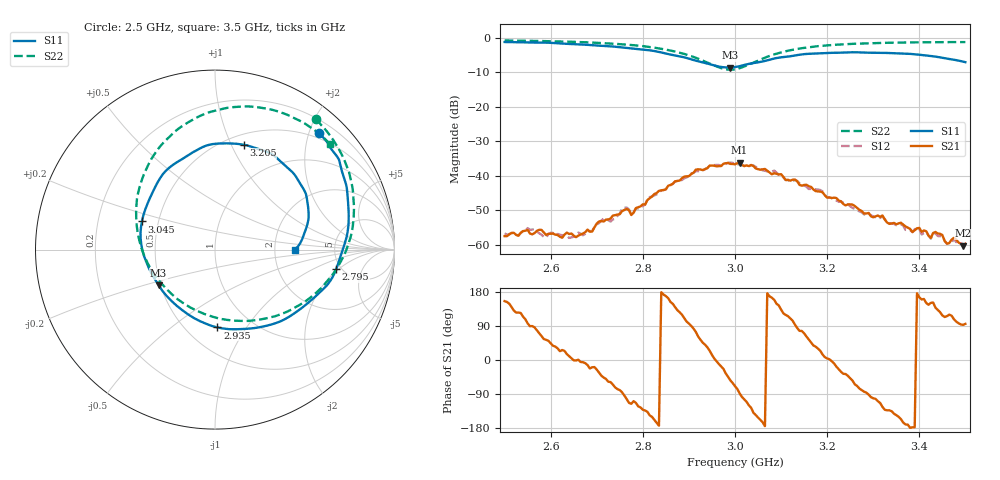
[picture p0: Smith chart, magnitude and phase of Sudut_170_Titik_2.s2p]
# Hz S RI R 50
! CMT, C1220, 16058040, 17.2.0/1
! Date: 15/08/2018 10:50:20
! Data: Format (Calibration Info)
! Freq  S11: Re/Im (F2)  S21: Re/Im (F2)  S12: Re/Im (F2)  S22: Re/Im (F2)
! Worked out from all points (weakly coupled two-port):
!   201 points, 2.5 GHz to 3.5 GHz, reference 50 ohm
!   highest |S21| = -36.24 dB at 3.01 GHz (marker M1); lowest = -60.3 dB at 3.495 GHz (marker M2)
!   lowest |S11| = -8.6 dB at 2.99 GHz (marker M3), VSWR 2.18, Z = 24.4 - j11.3 ohm
!   |S11| at or under -10 dB: nowhere
!   |S22| runs from -9.2 to -0.7 dB; largest |S21 - S12| = 0.0011
!   S11 on the Smith chart (normalised r, x): 2.5 GHz: 0.40, +2.17; 2.795 GHz: 4.52, -1.86; 2.935 GHz: 0.70, -0.75; 3.045 GHz: 0.40, +0.16; 3.205 GHz: 0.60, +1.11; 3.5 GHz: 2.60, -0.01
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2.5e9  0.5804 0.6503  -0.00121 0.000554  -0.00134 0.000577  0.5623 0.7259
2.55e9  0.637 0.5768  -0.000188 0.00163  -0.000343 0.00171  0.6181 0.6652
2.59e9  0.6893 0.5039  0.000826 0.00111  0.000692 0.00106  0.661 0.6071
2.67e9  0.7376 0.312  0.00144 -0.000144  0.00135 -0.000217  0.7375 0.4556
2.715e9  0.7449 0.1764  0.00149 -0.00157  0.00166 -0.0017  0.766 0.3442
2.74e9  0.7388 0.0979  0.000808 -0.00255  0.00086 -0.00222  0.772 0.2742
2.755e9  0.7252 0.0423  0.000251 -0.00306  0.000449 -0.00333  0.7744 0.2297
2.775e9  0.703 -0.0262  -0.00116 -0.00243  -0.00127 -0.00243  0.7713 0.1631
2.795e9  0.6747 -0.1099  -0.00207 -0.00294  -0.00197 -0.00274  0.7612 0.0923
2.835e9  0.5751 -0.2467  -0.006 -0.000698  -0.00569 -0.000895  0.7016 -0.0651
2.935e9  0.0135 -0.4337  0.00949 0.00807  0.00917 0.00851  0.2259 -0.3929
2.99e9  -0.3141 -0.1992  0.00875 -0.012  0.00924 -0.0125  -0.2101 -0.2753
3e9  -0.3524 -0.1364  0.00524 -0.0137  0.0045 -0.014  -0.2756 -0.2139
3.01e9  -0.3827 -0.0685  0.000538 -0.0154  0.000548 -0.0147  -0.3331 -0.1456
3.045e9  -0.4069 0.1569  -0.0105 -0.00728  -0.0109 -0.00783  -0.4355 0.1291
3.1e9  -0.255 0.4563  -0.00719 0.0077  -0.00667 0.00776  -0.3547 0.5043
3.17e9  0.0269 0.5911  0.00494 0.00394  0.00459 0.00438  -0.0916 0.7407
3.205e9  0.159 0.5842  0.00484 0.00016  0.00486 -0.000128  0.0363 0.7828
3.335e9  0.4647 0.3846  -0.00136 -0.00147  -0.00148 -0.00138  0.3903 0.7561
3.435e9  0.5154 0.1436  -0.00114 0.00102  -0.00106 0.00101  0.5615 0.6598
3.495e9  0.4526 0.00718  -4.68e-05 0.000968  -1.53e-05 0.00095  0.6379 0.5914
3.5e9  0.4445 -0.00216  -9.63e-05 0.00102  -4.25e-05 0.000985  0.6433 0.5857
